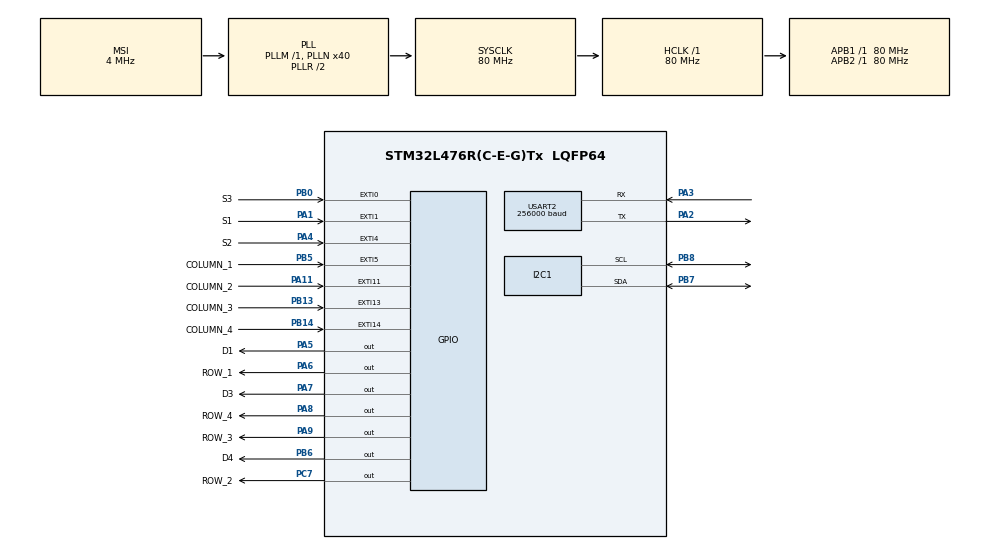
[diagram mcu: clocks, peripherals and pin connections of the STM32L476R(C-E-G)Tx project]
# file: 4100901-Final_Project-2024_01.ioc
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I2C1.Timing=0x10D19CE4
Mcu.Family=STM32L4
Mcu.Name=STM32L476R(C-E-G)Tx
Mcu.Package=LQFP64
NVIC.EXTI0_IRQn=true\:0\:0\:false\:false\:true\:true\:true\:true
NVIC.EXTI15_10_IRQn=true\:0\:0\:false\:false\:true\:true\:true\:true
NVIC.EXTI1_IRQn=true\:0\:0\:false\:false\:true\:true\:true\:true
NVIC.EXTI4_IRQn=true\:0\:0\:false\:false\:true\:true\:true\:true
NVIC.EXTI9_5_IRQn=true\:0\:0\:false\:false\:true\:true\:true\:true
NVIC.PriorityGroup=NVIC_PRIORITYGROUP_4
NVIC.USART2_IRQn=true\:0\:0\:false\:false\:true\:true\:true\:true
PA1.GPIO_Label=S1
PA1.GPIO_ModeDefaultEXTI=GPIO_MODE_IT_RISING
PA1.GPIO_PuPd=GPIO_NOPULL
PA1.Signal=GPXTI1
PA11.GPIO_Label=COLUMN_2
PA11.GPIO_PuPd=GPIO_PULLDOWN
PA11.Signal=GPXTI11
PA2.Mode=Asynchronous
PA2.Signal=USART2_TX
PA3.Mode=Asynchronous
PA3.Signal=USART2_RX
PA4.GPIO_Label=S2
PA4.Signal=GPXTI4
PA5.GPIO_Label=D1
PA5.PinState=GPIO_PIN_SET
PA5.Signal=GPIO_Output
PA6.GPIO_Label=ROW_1
PA6.PinState=GPIO_PIN_SET
PA6.Signal=GPIO_Output
PA7.GPIO_Label=D3
PA7.PinState=GPIO_PIN_SET
PA7.Signal=GPIO_Output
PA8.GPIO_Label=ROW_4
PA8.PinState=GPIO_PIN_SET
PA8.Signal=GPIO_Output
PA9.GPIO_Label=ROW_3
PA9.PinState=GPIO_PIN_SET
PA9.Signal=GPIO_Output
PB0.GPIO_Label=S3
PB0.GPIO_ModeDefaultEXTI=GPIO_MODE_IT_RISING
PB0.GPIO_PuPd=GPIO_NOPULL
PB0.Signal=GPXTI0
PB13.GPIO_Label=COLUMN_3
PB13.GPIO_PuPd=GPIO_PULLDOWN
PB13.Signal=GPXTI13
PB14.GPIO_Label=COLUMN_4
PB14.GPIO_PuPd=GPIO_PULLDOWN
PB14.Signal=GPXTI14
PB5.GPIO_Label=COLUMN_1
PB5.GPIO_ModeDefaultEXTI=GPIO_MODE_IT_RISING
PB5.GPIO_PuPd=GPIO_PULLDOWN
PB5.Signal=GPXTI5
PB6.GPIO_Label=D4
PB6.PinState=GPIO_PIN_SET
PB6.Signal=GPIO_Output
PB7.Mode=I2C
PB7.Signal=I2C1_SDA
PB8.Mode=I2C
PB8.Signal=I2C1_SCL
PC7.GPIO_Label=ROW_2
PC7.PinState=GPIO_PIN_SET
PC7.Signal=GPIO_Output
ProjectManager.HeapSize=0x200
ProjectManager.StackSize=0x400
ProjectManager.TargetToolchain=STM32CubeIDE
RCC.AHBFreq_Value=80000000
RCC.APB1Freq_Value=80000000
RCC.APB1TimFreq_Value=80000000
RCC.APB2Freq_Value=80000000
RCC.APB2TimFreq_Value=80000000
RCC.CortexFreq_Value=80000000
RCC.HCLKFreq_Value=80000000
RCC.HSE_VALUE=8000000
RCC.HSI_VALUE=16000000
RCC.LSE_VALUE=32768
RCC.MSI_VALUE=4000000
RCC.PLLN=40
RCC.SYSCLKFreq_VALUE=80000000
RCC.SYSCLKSource=RCC_SYSCLKSOURCE_PLLCLK
RCC.VCOOutputFreq_Value=160000000
USART2.BaudRate=256000
USART2.VirtualMode-Asynchronous=VM_ASYNC
board=custom

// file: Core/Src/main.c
/* USER CODE BEGIN Header */
/**
  ******************************************************************************
  * @file           : main.c
  * @brief          : Main program body
  ******************************************************************************
  * @attention
  *
  * Copyright (c) 2024 STMicroelectronics.
  * All rights reserved.
  *
  * This software is licensed under terms that can be found in the LICENSE file
  * in the root directory of this software component.
  * If no LICENSE file comes with this software, it is provided AS-IS.
  *
  ******************************************************************************
  */
/* USER CODE END Header */
#include "main.h"

/* USER CODE BEGIN Includes */
#include <stdio.h>
#include "string.h"

//#include "ssd1306.h"
//#include "ssd1306_fonts.h"

//#include "ring_buffer.h"
#include "keypad.h"
#include "tesla.h"
#include "val_clave.h"
#include "ring_buffer.h"
/* USER CODE END Includes */

I2C_HandleTypeDef hi2c1;

UART_HandleTypeDef huart2;

/* USER CODE BEGIN PV */

//#define USART2_BUFFER_SIZE 8
//uint8_t usart2_buffer[USART2_BUFFER_SIZE];
//uint32_t left_toggles = 0;
uint32_t left_last_press_tick = 0;
uint32_t right_last_press_tick = 0;
uint32_t stop_last_press_tick = 0;
uint8_t presion_doble = 0;
uint8_t presion = 0;
uint32_t cantidad_cambios1 = 0;
uint32_t cantidad_cambios2 = 0;
uint32_t cantidad_cambios3 = 0;
uint32_t tiempo_cambio;
uint8_t estacionamiento_previo = 0;
uint8_t numero_estacionamiento = 0;
volatile flag_enum presion_teclado;
volatile uint8_t tecla_presionada;
uint32_t tiempo_presion_num = 0;
boolean_enum state = FALSE;
boolean_enum eliminar_interrup = TRUE;
uint8_t clave[TAM_CLAVE];
ring_buffer_t ring_clave;
uint8_t validacion_clave = 0xFF;
uint8_t numeral_dos;
ring_buffer_t usart2_rb;
uint8_t usart2_rx;
//uint8_t dato_enviado = 0;
uint8_t boton[TAM_BOTON];
uint16_t tamano_dato = 0;
uint8_t vali_dato_correcto1 = 0;
uint8_t vali_dato_correcto2 = 0;
uint8_t vali_dato_correcto3 = 0;
char dato_correcto1[] = "S1";
char dato_correcto2[] = "S2";
char dato_correcto3[] = "S3";
char dato_escrito[10];
uint16_t read_buffer_ring_counter = 0;
uint8_t recepcion;
uint8_t vali_dato_correcto1_plus = 0;
uint8_t vali_dato_correcto2_plus = 0;
uint8_t vali_dato_correcto3_plus = 0;
char dato_correcto1_plus[] = "+1";
char dato_correcto2_plus[] = "+2";
uint32_t cantidad_cambios_x_dato1 = 0;
uint32_t cantidad_cambios_x_dato2 = 0;
uint32_t cantidad_cambios_x_dato3 = 0;
uint16_t pruebaa = 0;
uint32_t numero_estacionamiento_dato = 0;

//uint8_t boton_presionado[2];
/* USER CODE END PV */

void SystemClock_Config(void);
static void MX_GPIO_Init(void);
static void MX_USART2_UART_Init(void);
static void MX_I2C1_Init(void);

/* USER CODE BEGIN 0 */
int _write(int file, char *ptr, int len)
{
  HAL_UART_Transmit(&huart2, (uint8_t *)ptr, len, 10);
  return len;
}

void HAL_UART_RxCpltCallback(UART_HandleTypeDef *huart)
{
  /* Data received in USART2 */
  if (huart->Instance == USART2) {
	  usart2_rx = USART2->RDR; // leyendo el byte recibido de USART2
	  ring_buffer_write(&usart2_rb, usart2_rx); // poner los datos recibidos en buffer
	  HAL_UART_Receive_IT(&huart2, &usart2_rx, 1); // Habilitar interrupción para continuar recibiendo
//	  ATOMIC_SET_BIT(USART2->CR1, USART_CR1_RXNEIE); // usando una funcion mas liviana para reducir memoria
//	  dato_enviado = 1;
  }
}

void HAL_GPIO_EXTI_Callback(uint16_t GPIO_Pin)
{

	if(GPIO_Pin == S1_Pin && HAL_GetTick() > (left_last_press_tick + 200)){ // Ponemos los condicionales para
																			// para cada presión de los botones
		HAL_GPIO_WritePin(D3_GPIO_Port, D3_Pin, 1); // Ponemos ambos leds en apagado, para que no interfiera en
		HAL_GPIO_WritePin(D4_GPIO_Port, D4_Pin, 1); // en la siguiente instrucción dada
		presion = 1;
		cantidad_cambios1 = 6; //Asignamos el valor de 6 para indicar los 3 parpadeos que debe hacer
		estacionamiento_previo = 0;
		numero_estacionamiento = 0;
		HAL_UART_Transmit(&huart2, "Direccional izquierdo\r\n", 23, 10);
		if (HAL_GetTick() < (left_last_press_tick + 400)) {
			presion_doble = 1;
			cantidad_cambios1 = 0xFFFFFF; // Indicamos el valor 0xFFFFFF como indicador de un número infinito
		}
		left_last_press_tick = HAL_GetTick();
		return;

// Para los siguientes dos condicionales es el mismo funcionamiento que el explicado anteriormente
	} else if(GPIO_Pin == S2_Pin && HAL_GetTick() > (right_last_press_tick + 200)){ // El condicional del HAL_GetTick
																					// es para evitar el rebote
		HAL_GPIO_WritePin(D3_GPIO_Port, D3_Pin, 1);
		HAL_GPIO_WritePin(D4_GPIO_Port, D4_Pin, 1);
		presion = 2;
		cantidad_cambios2 = 6;
		estacionamiento_previo = 0;
		numero_estacionamiento = 0;
		HAL_UART_Transmit(&huart2, "Direccional derecho\r\n", 21, 10);
		if (HAL_GetTick() < (right_last_press_tick + 400)) {
			presion_doble = 2;
			cantidad_cambios2 = 0xFFFFFF;
		}
		right_last_press_tick = HAL_GetTick();
		return;

	}else if(GPIO_Pin == S3_Pin && HAL_GetTick() > (stop_last_press_tick + 200)){

		HAL_GPIO_WritePin(D3_GPIO_Port, D3_Pin, 1);
		HAL_GPIO_WritePin(D4_GPIO_Port, D4_Pin, 1);
		presion = 3;
		cantidad_cambios3 = 0xFFFFFF;
		if(	estacionamiento_previo == 0 && numero_estacionamiento > 0){ //Realizamos una condición para saber cuál
			estacionamiento_previo = 1;									//era el estado del estacionamiento y así
		}else{															//que se apague si estaba prendido o viceversa
			estacionamiento_previo = 0;
			numero_estacionamiento++;
		}
		HAL_UART_Transmit(&huart2, "Estacionamiento\r\n", 17, 10);
		stop_last_press_tick = HAL_GetTick();
		return;
	}

	uint8_t key_pressed = keypad_scan(GPIO_Pin);
	if (key_pressed != 0xFF ) {
		char* tx[15];
		uint8_t len=sprintf(&tx, "Se presionó: %c\r\n", key_pressed);
		HAL_UART_Transmit(&huart2, &tx, len, 10);
//		strcpy(&tecla_presionada, &key_pressed);
		tecla_presionada = key_pressed;
		presion_teclado = PRESION;
		return;

	}

}

//void low_power_mode()
//{
//#define AWAKE_TIME (10 * 1000) // 10 segundos
//	static uint32_t sleep_tick = AWAKE_TIME;
//
//	if (sleep_tick > HAL_GetTick()) {
//		return;
//	}
//	printf("Sleeping\r\n");
//	sleep_tick = HAL_GetTick() + AWAKE_TIME;
//
//	RCC->AHB1SMENR  = 0x0;
//	RCC->AHB2SMENR  = 0x0;
//	RCC->AHB3SMENR  = 0x0;
//
//	RCC->APB1SMENR1 = 0x0;
//	RCC->APB1SMENR2 = 0x0;
//	RCC->APB2SMENR  = 0x0;
//
//	/*Suspend Tick increment to prevent wakeup by Systick interrupt.
//	Otherwise the Systick interrupt will wake up the device within 1ms (HAL time base)*/
//	HAL_SuspendTick();
//
//	/* Enter Sleep Mode , wake up is done once User push-button is pressed */
//	HAL_PWR_EnterSLEEPMode(PWR_MAINREGULATOR_ON, PWR_SLEEPENTRY_WFI);
//
//	/* Resume Tick interrupt if disabled prior to SLEEP mode entry */
//	HAL_ResumeTick();
//
//	printf("Awake\r\n");
//}
/* USER CODE END 0 */

int main(void)
{

  /* MCU Configuration--------------------------------------------------------*/

  /* Reset of all peripherals, Initializes the Flash interface and the Systick. */
  HAL_Init();

  /* Configure the system clock */
  SystemClock_Config();

  /* Initialize all configured peripherals */
  MX_GPIO_Init();
  MX_USART2_UART_Init();
  MX_I2C1_Init();
  /* USER CODE BEGIN 2 */

  ring_buffer_init(&ring_clave, clave, TAM_CLAVE);
  ring_buffer_init(&usart2_rb, boton, TAM_BOTON);
//  ssd1306_Init();
//  ssd1306_SetCursor(25, 30);
//  ssd1306_WriteString("Hello World!", Font_7x10, White);
//  ssd1306_UpdateScreen();
//
//  ring_buffer_init(&usart2_rb, usart2_buffer, USART2_BUFFER_SIZE);
  /* USER CODE END 2 */

  /* Infinite loop */
  /* USER CODE BEGIN WHILE */
  presion_teclado = NO_PRESION;
  tecla_presionada = 0;
  numeral_dos = 0;

//  numero_estacionamiento = 0;
//  printf("Starting...\r\n");
  HAL_UART_Receive_IT(&huart2, &usart2_rx, 1); // enable interrupt for USART2 Rx
//  ATOMIC_SET_BIT(USART2->CR1, USART_CR1_RXNEIE); // usando un funcion mas liviana para reducir memoria
  while (1) {

	  if(ring_buffer_is_empty(&usart2_rb) != 1)	//Si el buffer de usart2_rb tiene datos para leer
	  	  {
		  	  ring_buffer_read(&usart2_rb, &recepcion);	//lee un dato del buffer
	  		  dato_escrito[read_buffer_ring_counter] = recepcion; //Va llenando un nuevo arreglo con el dato leído dle buffer
	  		  read_buffer_ring_counter ++; //Va aumentando el contador de control
	  	  }

	  vali_dato_correcto1 = strcmp(&dato_escrito, &dato_correcto1);
	  vali_dato_correcto2 = strcmp(&dato_escrito, &dato_correcto2);
	  vali_dato_correcto3 = strcmp(&dato_escrito, &dato_correcto3);
	  vali_dato_correcto1_plus = strcmp(&dato_escrito, &dato_correcto1_plus);
	  vali_dato_correcto2_plus = strcmp(&dato_escrito, &dato_correcto2_plus);

	  if(vali_dato_correcto1 == 0){
		  HAL_GPIO_WritePin(D3_GPIO_Port, D3_Pin, 1);
		  HAL_GPIO_WritePin(D4_GPIO_Port, D4_Pin, 1);
		  cantidad_cambios_x_dato1 = 6;
		  estacionamiento_previo = 0;
		  vali_dato_correcto1 = 0xFF;
//		  ring_buffer_reset(&usart2_rb);
		  read_buffer_ring_counter = 0;
		  memset(&dato_escrito, 0, sizeof(dato_escrito));
		  HAL_UART_Transmit(&huart2, "Entro a 1\r\n", 11, 10);

	  }else if( vali_dato_correcto1_plus == 0){
		  HAL_GPIO_WritePin(D3_GPIO_Port, D3_Pin, 1);
		  HAL_GPIO_WritePin(D4_GPIO_Port, D4_Pin, 1);
		  cantidad_cambios_x_dato1 = 0xFFFFFF;
		  estacionamiento_previo = 0;
		  vali_dato_correcto1_plus = 0xFF;
//		  ring_buffer_reset(&usart2_rb);
		  read_buffer_ring_counter = 0;
		  memset(&dato_escrito, 0, sizeof(dato_escrito));
		  HAL_UART_Transmit(&huart2, "Entro a +1\r\n", 12, 10);

	  } else if(vali_dato_correcto2 == 0){
		  HAL_GPIO_WritePin(D3_GPIO_Port, D3_Pin, 1);
		  HAL_GPIO_WritePin(D4_GPIO_Port, D4_Pin, 1);
		  cantidad_cambios_x_dato2 = 6;
		  estacionamiento_previo = 0;
		  vali_dato_correcto2 = 0xFF;
//		  ring_buffer_reset(&usart2_rb);
		  read_buffer_ring_counter = 0;
		  memset(&dato_escrito, 0, sizeof(dato_escrito));
		  HAL_UART_Transmit(&huart2, "Entro a 2\r\n", 11, 10);

	  }else if( vali_dato_correcto2_plus == 0){
		  HAL_GPIO_WritePin(D3_GPIO_Port, D3_Pin, 1);
		  HAL_GPIO_WritePin(D4_GPIO_Port, D4_Pin, 1);
		  cantidad_cambios_x_dato2 = 0xFFFFFF;
		  estacionamiento_previo = 0;
		  vali_dato_correcto2_plus = 0xFF;
//		  ring_buffer_reset(&usart2_rb);
		  read_buffer_ring_counter = 0;
		  memset(&dato_escrito, 0, sizeof(dato_escrito));
		  HAL_UART_Transmit(&huart2, "Entro a +2\r\n", 12, 10);

	  }else if(vali_dato_correcto3 == 0){
		  HAL_GPIO_WritePin(D3_GPIO_Port, D3_Pin, 1);
		  HAL_GPIO_WritePin(D4_GPIO_Port, D4_Pin, 1);
		  cantidad_cambios_x_dato3 = 0xFFFFFF;
		  if(estacionamiento_previo == 0 && numero_estacionamiento_dato > 0){
			  estacionamiento_previo = 1;
		  }else{
			  estacionamiento_previo = 0;
			  numero_estacionamiento++;
		  }
		  vali_dato_correcto3 = 0xFF;
//		  ring_buffer_reset(&usart2_rb);
		  read_buffer_ring_counter = 0;
		  memset(&dato_escrito, 0, sizeof(dato_escrito));
		  HAL_UART_Transmit(&huart2, "Entro a 3\r\n", 11, 10);

	  }

	  //Validamos la clave ingresada
	  if(presion_teclado == PRESION && tecla_presionada != '#' && tecla_presionada != '*'){//Para que escriba en el buffer
	  		  presion_teclado = NO_PRESION;													//cuando sea un valor valido
	  		  ring_buffer_write(&ring_clave, tecla_presionada);
	  }else if(presion_teclado == PRESION && tecla_presionada == '*'){//Resetear el buffer cuando se presione "*"
			  presion_teclado = NO_PRESION;
			  ring_buffer_reset(&ring_clave);
	  }else if(presion_teclado == PRESION && tecla_presionada == '#'){//Validar lo que esté en el buffer cuando
		  	  	  	  	  	  	  	  	  	  	  	  	  	  	  	  //se presione "#"
		  	  validacion_clave = validar_clave(&ring_clave);
		  	  ring_buffer_reset(&ring_clave);//De una limpie el buffer cuando valide
		  	  //printf("Validacion: %d\r\n", validacion_clave);
		  	  if(numeral_dos == 1){ //Este condicional nos sirve para indicar que la clave sigue siendo valida
				  validacion_clave = 0;//cuando se presione por segunda vez el numeral
			  }
		      if(validacion_clave == 1){ // Para que cambie el estado de la presion  incluso
		    	  presion_teclado = NO_PRESION;//incluso cuando no entre en el condicional siguiente (de la clave)
		      }
	  }

	  //Condicionamos el funcionamiento del Tesla (encendido o apagado)
	  if((tecla_presionada == '#') && (presion_teclado == PRESION) && (validacion_clave == 0)){

		  numeral_dos = 1;

		  if(state == FALSE){ // Para que si se presionó los botones de tesla mientras estaba bloqueado
			  cantidad_cambios1 = 0;//los resetee
			  cantidad_cambios2 = 0;
			  cantidad_cambios3 = 0;
		  }

		  HAL_UART_Transmit(&huart2, "funcionando\r\n", 13, 10);
		  if(eliminar_interrup == TRUE){// Es para corregir un error de que la variable no inicia en el mismo valor
			 tiempo_cambio = 1;//que se le definió globalmente
			 eliminar_interrup = FALSE;
		  }
		  state = TRUE; //Activamos en tesla

		  if( HAL_GetTick() < (tiempo_presion_num + 400) ){//Si se presiona el botón "#" seguido dos veces
			  HAL_GPIO_WritePin(D1_GPIO_Port, D1_Pin, 1);// antes de 400 ms y está encendido, se apague
			  HAL_GPIO_WritePin(D3_GPIO_Port, D3_Pin, 1);
			  HAL_GPIO_WritePin(D4_GPIO_Port, D4_Pin, 1);
			  cantidad_cambios1 = 0;
			  cantidad_cambios2 = 0;
			  cantidad_cambios3 = 0;
			  HAL_UART_Transmit(&huart2, "no funcional\r\n", 14, 10);
			  state = FALSE;
			  numeral_dos = 0;
		  }

		  tiempo_presion_num = HAL_GetTick();
		  tecla_presionada = 0xFF;
		  presion_teclado = NO_PRESION;
		  validacion_clave = 0xFF;
	  }

	  if(state == TRUE)
	   {

//		  char* tx2[15];
//		uint8_t len2=sprintf(&tx2, "PT=%d--Es=%d--TP=%c\r\n", presion_teclado, state, tecla_presionada);
//		HAL_UART_Transmit(&huart2, &tx2, len2, 100);

		  heartbeat();

		  //FUNCIONAMIENTO PARA BOTONES

		  if(presion == 1 && cantidad_cambios1 > 0 && HAL_GetTick() > tiempo_cambio)
		  { // Si se presiona el botón de luz izquierda
			  if(cantidad_cambios2 == 0 && cantidad_cambios_x_dato2 == 0){ // Esta condición es para que se cumpla si está prendido la luz del otro lado, entonces apague ambas
				  HAL_GPIO_TogglePin(D3_GPIO_Port, D3_Pin);
				  cantidad_cambios1--;
				  tiempo_cambio = HAL_GetTick() + 500;
//				  pruebaa++;
//				  printf ("Prueba: %d\r\n", pruebaa);
			  }else{
				  cantidad_cambios1 = 0;
				  cantidad_cambios2 = 0;
				  cantidad_cambios_x_dato1 = 0;
				  cantidad_cambios_x_dato2 = 0;
			  }
	  //El mismo funcionamiento del anterior está para este que es el led derecho
		  }	else if(presion == 2 && cantidad_cambios2 > 0 && HAL_GetTick() > tiempo_cambio)
		  { // Si se presiona el botón de luzcantidad_cambios_x_dato2 derecha
			  if(cantidad_cambios1 == 0 && cantidad_cambios_x_dato1 == 0){
				  HAL_GPIO_TogglePin(D4_GPIO_Port, D4_Pin);
				  cantidad_cambios2--;
				  tiempo_cambio = HAL_GetTick() + 500;
			  }else{
				  cantidad_cambios1 = 0;
				  cantidad_cambios2 = 0;
				  cantidad_cambios_x_dato1 = 0;
				  cantidad_cambios_x_dato2 = 0;
			  }
	  // Y para el funcionamiento de la estacionaria es similar solo que con ambos leds
		  }else if(presion == 3 && cantidad_cambios3 > 0 && HAL_GetTick() > tiempo_cambio)
		  { // Si se presiona el botón de estacionar
			  if(estacionamiento_previo == 0){
				  HAL_GPIO_TogglePin(D3_GPIO_Port, D3_Pin);
				  HAL_GPIO_TogglePin(D4_GPIO_Port, D4_Pin);
				  cantidad_cambios3--;
				  tiempo_cambio = HAL_GetTick() + 500;
				  cantidad_cambios1 = 0;
				  cantidad_cambios2 = 0;
				  cantidad_cambios_x_dato1 = 0;
				  cantidad_cambios_x_dato2 = 0;
			  }else if(	estacionamiento_previo == 1){
				  cantidad_cambios3 = 0;
			  }
		  }
	  }

	  //FUNCIONAMIENTO PARA USART

	  if( cantidad_cambios_x_dato1 > 0 && HAL_GetTick() > tiempo_cambio){
		  if(cantidad_cambios_x_dato2 == 0 && cantidad_cambios2 == 0){
			  HAL_GPIO_TogglePin(D3_GPIO_Port, D3_Pin);
			  cantidad_cambios_x_dato1--;
			  tiempo_cambio = HAL_GetTick() + 500;
		  }else{
			  cantidad_cambios1 = 0;
			  cantidad_cambios2 = 0;
			  cantidad_cambios_x_dato1 = 0;
			  cantidad_cambios_x_dato2 = 0;
		  }
	  }else if( cantidad_cambios_x_dato2 > 0 && HAL_GetTick() > tiempo_cambio){
		  if(cantidad_cambios_x_dato1 == 0 && cantidad_cambios1 == 0){
			  HAL_GPIO_TogglePin(D4_GPIO_Port, D4_Pin);
			  cantidad_cambios_x_dato2--;
			  tiempo_cambio = HAL_GetTick() + 500;
		  }else{
			  cantidad_cambios1 = 0;
			  cantidad_cambios2 = 0;
			  cantidad_cambios_x_dato1 = 0;
			  cantidad_cambios_x_dato2 = 0;
		  }
	  }else if(cantidad_cambios_x_dato3 > 0 && HAL_GetTick() > tiempo_cambio){

		  if(estacionamiento_previo == 0){
			  HAL_GPIO_TogglePin(D3_GPIO_Port, D3_Pin);
			  HAL_GPIO_TogglePin(D4_GPIO_Port, D4_Pin);
			  cantidad_cambios_x_dato3--;
			  tiempo_cambio = HAL_GetTick() + 500;
			  cantidad_cambios1 = 0;
			  cantidad_cambios2 = 0;
			  cantidad_cambios_x_dato1 = 0;
			  cantidad_cambios_x_dato2 = 0;

		  }else if(estacionamiento_previo == 1){
			  cantidad_cambios3 = 0;
			  cantidad_cambios_x_dato3 = 0;
		  }
	  }

//if(validar_clave() == ){
//
//}
//	  if (ring_buffer_is_full(&usart2_rb) != 0) {
//		  printf("Received:\r\n");
//		  while (ring_buffer_is_empty(&usart2_rb) == 0) {
//			  uint8_t data;
//			  ring_buffer_read(&usart2_rb, &data);
//			  HAL_UART_Transmit(&huart2, &data, 1, 10);
//		  }
//		  printf("\r\n");
//	  }
//	  low_power_mode();
    /* USER CODE END WHILE */

  }
}

void SystemClock_Config(void)
{
  RCC_OscInitTypeDef RCC_OscInitStruct = {0};
  RCC_ClkInitTypeDef RCC_ClkInitStruct = {0};

  /** Configure the main internal regulator output voltage
  */
  if (HAL_PWREx_ControlVoltageScaling(PWR_REGULATOR_VOLTAGE_SCALE1) != HAL_OK)
  {
    Error_Handler();
  }

  /** Initializes the RCC Oscillators according to the specified parameters
  * in the RCC_OscInitTypeDef structure.
  */
  RCC_OscInitStruct.OscillatorType = RCC_OSCILLATORTYPE_MSI;
  RCC_OscInitStruct.MSIState = RCC_MSI_ON;
  RCC_OscInitStruct.MSICalibrationValue = 0;
  RCC_OscInitStruct.MSIClockRange = RCC_MSIRANGE_6;
  RCC_OscInitStruct.PLL.PLLState = RCC_PLL_ON;
  RCC_OscInitStruct.PLL.PLLSource = RCC_PLLSOURCE_MSI;
  RCC_OscInitStruct.PLL.PLLM = 1;
  RCC_OscInitStruct.PLL.PLLN = 40;
  RCC_OscInitStruct.PLL.PLLP = RCC_PLLP_DIV7;
  RCC_OscInitStruct.PLL.PLLQ = RCC_PLLQ_DIV2;
  RCC_OscInitStruct.PLL.PLLR = RCC_PLLR_DIV2;
  if (HAL_RCC_OscConfig(&RCC_OscInitStruct) != HAL_OK)
  {
    Error_Handler();
  }

  /** Initializes the CPU, AHB and APB buses clocks
  */
  RCC_ClkInitStruct.ClockType = RCC_CLOCKTYPE_HCLK|RCC_CLOCKTYPE_SYSCLK
                              |RCC_CLOCKTYPE_PCLK1|RCC_CLOCKTYPE_PCLK2;
  RCC_ClkInitStruct.SYSCLKSource = RCC_SYSCLKSOURCE_PLLCLK;
  RCC_ClkInitStruct.AHBCLKDivider = RCC_SYSCLK_DIV1;
  RCC_ClkInitStruct.APB1CLKDivider = RCC_HCLK_DIV1;
  RCC_ClkInitStruct.APB2CLKDivider = RCC_HCLK_DIV1;

  if (HAL_RCC_ClockConfig(&RCC_ClkInitStruct, FLASH_LATENCY_4) != HAL_OK)
  {
    Error_Handler();
  }
}

static void MX_I2C1_Init(void)
{

  hi2c1.Instance = I2C1;
  hi2c1.Init.Timing = 0x10D19CE4;
  hi2c1.Init.OwnAddress1 = 0;
  hi2c1.Init.AddressingMode = I2C_ADDRESSINGMODE_7BIT;
  hi2c1.Init.DualAddressMode = I2C_DUALADDRESS_DISABLE;
  hi2c1.Init.OwnAddress2 = 0;
  hi2c1.Init.OwnAddress2Masks = I2C_OA2_NOMASK;
  hi2c1.Init.GeneralCallMode = I2C_GENERALCALL_DISABLE;
  hi2c1.Init.NoStretchMode = I2C_NOSTRETCH_DISABLE;
  if (HAL_I2C_Init(&hi2c1) != HAL_OK)
  {
    Error_Handler();
  }

  /** Configure Analogue filter
  */
  if (HAL_I2CEx_ConfigAnalogFilter(&hi2c1, I2C_ANALOGFILTER_ENABLE) != HAL_OK)
  {
    Error_Handler();
  }

  /** Configure Digital filter
  */
  if (HAL_I2CEx_ConfigDigitalFilter(&hi2c1, 0) != HAL_OK)
  {
    Error_Handler();
  }

}

static void MX_USART2_UART_Init(void)
{

  huart2.Instance = USART2;
  huart2.Init.BaudRate = 256000;
  huart2.Init.WordLength = UART_WORDLENGTH_8B;
  huart2.Init.StopBits = UART_STOPBITS_1;
  huart2.Init.Parity = UART_PARITY_NONE;
  huart2.Init.Mode = UART_MODE_TX_RX;
  huart2.Init.HwFlowCtl = UART_HWCONTROL_NONE;
  huart2.Init.OverSampling = UART_OVERSAMPLING_16;
  huart2.Init.OneBitSampling = UART_ONE_BIT_SAMPLE_DISABLE;
  huart2.AdvancedInit.AdvFeatureInit = UART_ADVFEATURE_NO_INIT;
  if (HAL_UART_Init(&huart2) != HAL_OK)
  {
    Error_Handler();
  }

}

static void MX_GPIO_Init(void)
{
  GPIO_InitTypeDef GPIO_InitStruct = {0};

  /* GPIO Ports Clock Enable */
  __HAL_RCC_GPIOA_CLK_ENABLE();
  __HAL_RCC_GPIOB_CLK_ENABLE();
  __HAL_RCC_GPIOC_CLK_ENABLE();

  /*Configure GPIO pin Output Level */
  HAL_GPIO_WritePin(GPIOA, D1_Pin|ROW_1_Pin|D3_Pin|ROW_4_Pin
                          |ROW_3_Pin, GPIO_PIN_SET);

  /*Configure GPIO pin Output Level */
  HAL_GPIO_WritePin(ROW_2_GPIO_Port, ROW_2_Pin, GPIO_PIN_SET);

  /*Configure GPIO pin Output Level */
  HAL_GPIO_WritePin(D4_GPIO_Port, D4_Pin, GPIO_PIN_SET);

  /*Configure GPIO pins : S1_Pin S2_Pin */
  GPIO_InitStruct.Pin = S1_Pin|S2_Pin;
  GPIO_InitStruct.Mode = GPIO_MODE_IT_RISING;
  GPIO_InitStruct.Pull = GPIO_NOPULL;
  HAL_GPIO_Init(GPIOA, &GPIO_InitStruct);

  /*Configure GPIO pins : D1_Pin ROW_1_Pin D3_Pin ROW_4_Pin
                           ROW_3_Pin */
  GPIO_InitStruct.Pin = D1_Pin|ROW_1_Pin|D3_Pin|ROW_4_Pin
                          |ROW_3_Pin;
  GPIO_InitStruct.Mode = GPIO_MODE_OUTPUT_PP;
  GPIO_InitStruct.Pull = GPIO_NOPULL;
  GPIO_InitStruct.Speed = GPIO_SPEED_FREQ_LOW;
  HAL_GPIO_Init(GPIOA, &GPIO_InitStruct);

  /*Configure GPIO pin : S3_Pin */
  GPIO_InitStruct.Pin = S3_Pin;
  GPIO_InitStruct.Mode = GPIO_MODE_IT_RISING;
  GPIO_InitStruct.Pull = GPIO_NOPULL;
  HAL_GPIO_Init(S3_GPIO_Port, &GPIO_InitStruct);

  /*Configure GPIO pins : COLUMN_3_Pin COLUMN_4_Pin COLUMN_1_Pin */
  GPIO_InitStruct.Pin = COLUMN_3_Pin|COLUMN_4_Pin|COLUMN_1_Pin;
  GPIO_InitStruct.Mode = GPIO_MODE_IT_RISING;
  GPIO_InitStruct.Pull = GPIO_PULLDOWN;
  HAL_GPIO_Init(GPIOB, &GPIO_InitStruct);

  /*Configure GPIO pin : ROW_2_Pin */
  GPIO_InitStruct.Pin = ROW_2_Pin;
  GPIO_InitStruct.Mode = GPIO_MODE_OUTPUT_PP;
  GPIO_InitStruct.Pull = GPIO_NOPULL;
  GPIO_InitStruct.Speed = GPIO_SPEED_FREQ_LOW;
  HAL_GPIO_Init(ROW_2_GPIO_Port, &GPIO_InitStruct);

  /*Configure GPIO pin : COLUMN_2_Pin */
  GPIO_InitStruct.Pin = COLUMN_2_Pin;
  GPIO_InitStruct.Mode = GPIO_MODE_IT_RISING;
  GPIO_InitStruct.Pull = GPIO_PULLDOWN;
  HAL_GPIO_Init(COLUMN_2_GPIO_Port, &GPIO_InitStruct);

  /*Configure GPIO pin : D4_Pin */
  GPIO_InitStruct.Pin = D4_Pin;
  GPIO_InitStruct.Mode = GPIO_MODE_OUTPUT_PP;
  GPIO_InitStruct.Pull = GPIO_NOPULL;
  GPIO_InitStruct.Speed = GPIO_SPEED_FREQ_LOW;
  HAL_GPIO_Init(D4_GPIO_Port, &GPIO_InitStruct);

  /* EXTI interrupt init*/
  HAL_NVIC_SetPriority(EXTI0_IRQn, 0, 0);
  HAL_NVIC_EnableIRQ(EXTI0_IRQn);

  HAL_NVIC_SetPriority(EXTI1_IRQn, 0, 0);
  HAL_NVIC_EnableIRQ(EXTI1_IRQn);

  HAL_NVIC_SetPriority(EXTI4_IRQn, 0, 0);
  HAL_NVIC_EnableIRQ(EXTI4_IRQn);

  HAL_NVIC_SetPriority(EXTI9_5_IRQn, 0, 0);
  HAL_NVIC_EnableIRQ(EXTI9_5_IRQn);

  HAL_NVIC_SetPriority(EXTI15_10_IRQn, 0, 0);
  HAL_NVIC_EnableIRQ(EXTI15_10_IRQn);

}

void Error_Handler(void)
{
  __disable_irq();
  while (1)
  {
  }
}
